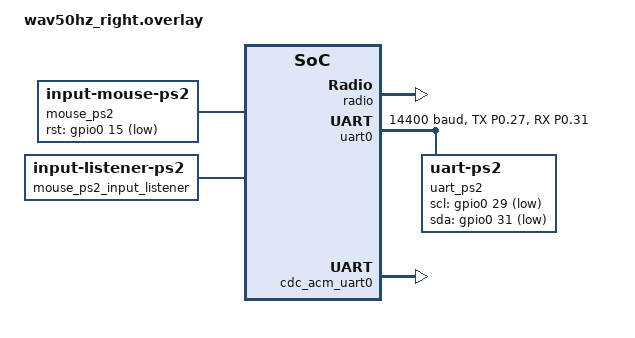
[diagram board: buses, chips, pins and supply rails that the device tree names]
#include "wav50hz.dtsi"

/ {
    bootloader_key: bootloader_key {
        compatible = "zmk,boot-magic-key";
        key-position = <29>;
        jump-to-bootloader;
    };
};

&default_transform {
    col-offset = <7>;
};

// ─── PS/2 Interrupt Priority Overrides ───────────────────────────────────────
// GPIOTE must have the highest interrupt priority (0) so PS/2 events can be
// processed within the required 30–50µs window. All other nRF52840 peripherals
// are demoted two levels to priority 3 (from their default of 1).
// The BT controller LLL/ULL priorities are automatically demoted by the
// PS/2 UART driver via Kconfig (CONFIG_BT_CTLR_LLL_PRIO=1, etc.).
&gpiote     { interrupts = < 6 0 >; };
&clock      { interrupts = < 0 3 >; };
&power      { interrupts = < 0 3 >; };
&radio      { interrupts = < 1 3 >; };
&uart0      { interrupts = < 2 3 >; };
&i2c0       { interrupts = < 3 3 >; };
&spi0       { interrupts = < 3 3 >; };
&i2c1       { interrupts = < 4 3 >; };
&spi1       { interrupts = < 4 3 >; };
&nfct       { interrupts = < 5 3 >; };
&adc        { interrupts = < 7 3 >; };
&timer0     { interrupts = < 8 3 >; };
&timer1     { interrupts = < 9 3 >; };
&timer2     { interrupts = < 10 3 >; };
&rtc0       { interrupts = < 11 3 >; };
&temp       { interrupts = < 12 3 >; };
&rng        { interrupts = < 13 3 >; };
&ecb        { interrupts = < 14 3 >; };
&ccm        { interrupts = < 15 3 >; };
&wdt        { interrupts = < 16 3 >; };
&rtc1       { interrupts = < 17 3 >; };
&qdec       { interrupts = < 18 3 >; };
&comp       { interrupts = < 19 3 >; };
&egu0       { interrupts = < 20 3 >; };
&egu1       { interrupts = < 21 3 >; };
&egu2       { interrupts = < 22 3 >; };
&egu3       { interrupts = < 23 3 >; };
&egu4       { interrupts = < 24 3 >; };
&egu5       { interrupts = < 25 3 >; };
&timer3     { interrupts = < 26 3 >; };
&timer4     { interrupts = < 27 3 >; };
&pwm0       { interrupts = < 28 3 >; };
&pdm0       { interrupts = < 29 3 >; };
&pwm1       { interrupts = < 33 3 >; };
&pwm2       { interrupts = < 34 3 >; };
&spi2       { interrupts = < 35 3 >; };
&rtc2       { interrupts = < 36 3 >; };
&i2s0       { interrupts = < 37 3 >; };
&usbd       { interrupts = < 39 3 >; };
&uart1      { interrupts = < 40 3 >; };
&qspi       { interrupts = < 41 3 >; };
&pwm3       { interrupts = < 45 3 >; };
&spi3       { interrupts = < 47 3 >; };
&cryptocell { interrupts = < 42 3 >; };

// ─── PS/2 Pinctrl ────────────────────────────────────────────────────────────
// The UART driver uses hardware UART only for receiving (device → host).
// For transmitting (host → device, rare), it switches UART off and GPIO
// bit-bangs the CLK and DAT pins directly.
//
// Pin mapping (VIK connector):
//   PS/2 CLK → scl-gpios → P0.29  (VIK AD_1, freed from MaxTouch CHG)
//   PS/2 DAT → sda-gpios → P0.31  (VIK AD_2)
//              UART_RX   → P0.31  (same pin; UART receives PS/2 data stream)
//   PS/2 RST → rst-gpios → P0.15  (VIK SDA, freed from I2C)
//   UART TX  → P0.27     (nRF52840 internal, not exposed on Cosmos Lemon Wireless)
//   UART RX  → P0.28     (nRF52840 internal, not exposed — used only in off state)
&pinctrl {
    // Receive mode: dummy TX on unexposed P0.27, UART RX on DAT pin P0.31
    uart0_ps2_default: uart0_ps2_default {
        group1 {
            psels = <NRF_PSEL(UART_TX, 0, 27)>,
                    <NRF_PSEL(UART_RX, 0, 31)>;
        };
    };
    uart0_ps2_sleep: uart0_ps2_sleep {
        group1 {
            psels = <NRF_PSEL(UART_TX, 0, 27)>,
                    <NRF_PSEL(UART_RX, 0, 31)>;
            low-power-enable;
        };
    };
    // Transmit / off mode: both pins moved to unexposed dummies so GPIO can
    // take over CLK (P0.29) and DAT (P0.31) for bit-banged host→device writes
    uart0_ps2_off: uart0_ps2_off {
        group1 {
            psels = <NRF_PSEL(UART_TX, 0, 27)>,
                    <NRF_PSEL(UART_RX, 0, 28)>;
        };
    };
};

// ─── PS/2 UART Driver ────────────────────────────────────────────────────────
// Baud rate 14400 ≈ 69µs cycle, closest to the ~67µs (14,925 Hz) used by
// IBM/Lenovo TrackPoints. Try 9600 or 19200 if this specific unit doesn't work.
&uart0 {
    status = "okay";
    compatible = "nordic,nrf-uarte";
    current-speed = <14400>;
    pinctrl-0 = <&uart0_ps2_default>;
    pinctrl-1 = <&uart0_ps2_sleep>;
    pinctrl-names = "default", "sleep";

    uart_ps2: uart_ps2 {
        status = "okay";
        compatible = "uart-ps2";
        scl-gpios = <&gpio0 29 GPIO_ACTIVE_LOW>;  /* PS/2 CLK — VIK AD_1, open-drain active-low */
        sda-gpios = <&gpio0 31 GPIO_ACTIVE_LOW>;  /* PS/2 DAT — VIK AD_2, open-drain active-low */
    };
};

// ─── USB CDC ACM UART (for ZMK_USB_LOGGING) ──────────────────────────────────
// Required so DT_HAS_ZEPHYR_CDC_ACM_UART_ENABLED is satisfied at Kconfig time.
// Remove this block (and the logging Kconfig) after debug session is complete.
&zephyr_udc0 {
    cdc_acm_uart0: cdc_acm_uart0 {
        compatible = "zephyr,cdc-acm-uart";
    };
};

/ {
    chosen {
        zephyr,console = &cdc_acm_uart0;
    };
};

// ─── PS/2 Mouse / TrackPoint Device + Input Listener ─────────────────────────
/ {
    mouse_ps2: mouse_ps2 {
        status = "okay";
        compatible = "zmk,input-mouse-ps2";
        ps2-device = <&uart_ps2>;
        rst-gpios = <&gpio0 15 GPIO_ACTIVE_LOW>;  /* RST — VIK SDA (P0.15), active-low */
    };

    mouse_ps2_input_listener: mouse_ps2_input_listener {
        compatible = "zmk,input-listener-ps2";
        status = "okay";
        device = <&mouse_ps2>;
    };
};
